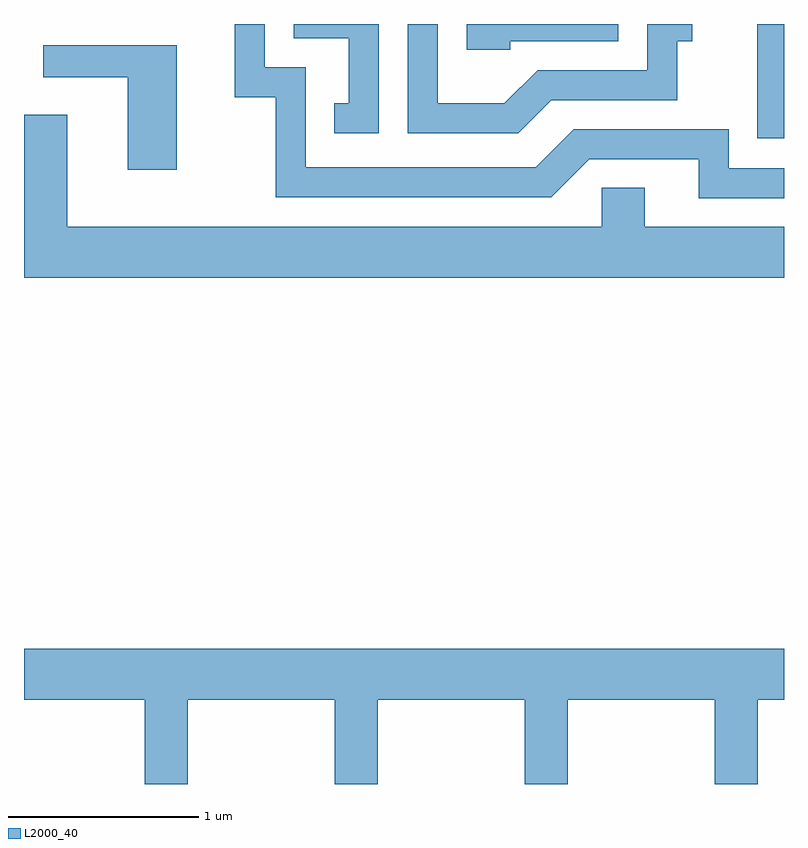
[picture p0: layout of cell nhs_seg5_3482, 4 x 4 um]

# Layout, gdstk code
import gdstk
lib = gdstk.Library(unit=1e-6, precision=1e-09)
def R(c, l, rs):  # rectangles x0, y0, x1, y1
    for r in rs: c.add(gdstk.rectangle(r[:2], r[2:], *l))
def P(c, l, *ps):  # polygons
    for p in ps: c.add(gdstk.Polygon(p, *l))
L2000_40 = (2000, 40)

nhs_seg5_3482 = lib.new_cell('nhs_seg5_3482')
R(nhs_seg5_3482, L2000_40, [(291.471,1517.471,291.611,1518.072)])
P(nhs_seg5_3482, L2000_40, [(289.479,1518.072),(289.031,1518.072),(289.031,1517.996),(289.321,1517.996),(289.321,1517.654),(289.243,1517.654),(289.243,1517.496),(289.479,1517.496)],
  [(290.169,1517.981),(290.739,1517.981),(290.739,1518.072),(289.941,1518.072),(289.941,1517.936),(290.169,1517.936)],
  [(290.387,1517.671),(291.049,1517.671),(291.049,1517.981),(291.128,1517.981),(291.128,1518.072),(290.891,1518.072),(290.891,1517.829),(290.314,1517.829),(290.139,1517.654),(289.789,1517.654),(289.789,1518.072),(289.631,1518.072),(289.631,1517.496),(290.212,1517.496)],
  [(291.611,1517.314),(291.319,1517.314),(291.319,1517.519),(290.504,1517.519),(290.304,1517.319),(289.094,1517.319),(289.094,1517.844),(288.879,1517.844),(288.879,1518.072),(288.721,1518.072),(288.721,1517.686),(288.936,1517.686),(288.936,1517.161),(290.387,1517.161),(290.587,1517.361),(291.161,1517.361),(291.161,1517.156),(291.611,1517.156)],
  [(288.414,1517.959),(287.713,1517.959),(287.713,1517.791),(288.156,1517.791),(288.156,1517.306),(288.414,1517.306)],
  [(291.611,1517.004),(290.879,1517.004),(290.879,1517.209),(290.651,1517.209),(290.651,1517.004),(287.839,1517.004),(287.839,1517.594),(287.611,1517.594),(287.611,1516.736),(291.611,1516.736)],
  [(288.474,1514.516),(289.246,1514.516),(289.246,1514.072),(289.474,1514.072),(289.474,1514.516),(290.246,1514.516),(290.246,1514.072),(290.474,1514.072),(290.474,1514.516),(291.246,1514.516),(291.246,1514.072),(291.474,1514.072),(291.474,1514.516),(291.611,1514.516),(291.611,1514.784),(287.611,1514.784),(287.611,1514.516),(288.246,1514.516),(288.246,1514.072),(288.474,1514.072)])

lib.write_gds('nhs_seg5_3482.gds')
